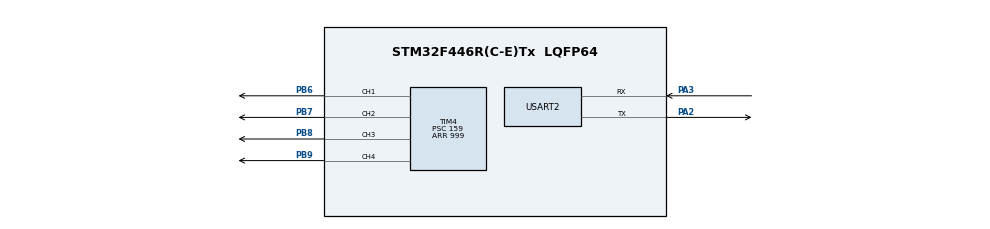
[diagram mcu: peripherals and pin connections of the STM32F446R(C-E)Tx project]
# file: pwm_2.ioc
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Mcu.Family=STM32F4
Mcu.Name=STM32F446R(C-E)Tx
Mcu.Package=LQFP64
NVIC.PriorityGroup=NVIC_PRIORITYGROUP_4
PA13.Mode=Serial_Wire
PA13.Signal=SYS_JTMS-SWDIO
PA14.Mode=Serial_Wire
PA14.Signal=SYS_JTCK-SWCLK
PA2.Mode=Asynchronous
PA2.Signal=USART2_TX
PA3.Mode=Asynchronous
PA3.Signal=USART2_RX
PB6.Signal=S_TIM4_CH1
PB7.Signal=S_TIM4_CH2
PB8.Signal=S_TIM4_CH3
PB9.Signal=S_TIM4_CH4
ProjectManager.HeapSize=0x200
ProjectManager.StackSize=0x400
ProjectManager.TargetToolchain=STM32CubeIDE
RCC.CortexFreq_Value=16000000
RCC.USBFreq_Value=96000000
RCC.VCOOutputFreq_Value=192000000
SH.S_TIM4_CH1.0=TIM4_CH1,PWM Generation1 CH1
SH.S_TIM4_CH2.0=TIM4_CH2,PWM Generation2 CH2
SH.S_TIM4_CH3.0=TIM4_CH3,PWM Generation3 CH3
SH.S_TIM4_CH4.0=TIM4_CH4,PWM Generation4 CH4
TIM4.Channel-PWM\ Generation1\ CH1=TIM_CHANNEL_1
TIM4.Channel-PWM\ Generation2\ CH2=TIM_CHANNEL_2
TIM4.Channel-PWM\ Generation3\ CH3=TIM_CHANNEL_3
TIM4.Channel-PWM\ Generation4\ CH4=TIM_CHANNEL_4
TIM4.Period=999
TIM4.Prescaler=159
TIM4.Pulse-PWM\ Generation1\ CH1=500
USART2.VirtualMode=VM_ASYNC
VP_TIM4_VS_ClockSourceINT.Mode=Internal
board=custom

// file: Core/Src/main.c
/* USER CODE BEGIN Header */
/**
  ******************************************************************************
  * @file           : main.c
  * @brief          : Main program body
  ******************************************************************************
  * @attention
  *
  * Copyright (c) 2026 STMicroelectronics.
  * All rights reserved.
  *
  * This software is licensed under terms that can be found in the LICENSE file
  * in the root directory of this software component.
  * If no LICENSE file comes with this software, it is provided AS-IS.
  *
  ******************************************************************************
  */
/* USER CODE END Header */
#include "main.h"

/* USER CODE BEGIN Includes */

#include <stdio.h>

/* USER CODE END Includes */

TIM_HandleTypeDef htim4;

UART_HandleTypeDef huart2;

void SystemClock_Config(void);
static void MX_GPIO_Init(void);
static void MX_TIM4_Init(void);
static void MX_USART2_UART_Init(void);

/* USER CODE BEGIN 0 */

// Send printf to uart2
int _write(int fd, char* ptr, int len) {
  HAL_StatusTypeDef hstatus;

  if (fd == 1 || fd == 2) {
    hstatus = HAL_UART_Transmit(&huart2, (uint8_t *) ptr, len, HAL_MAX_DELAY);
    if (hstatus == HAL_OK)
      return len;
    else
      return -1;
  }
  return -1;
}

/* USER CODE END 0 */

int main(void)
{

  /* MCU Configuration--------------------------------------------------------*/

  /* Reset of all peripherals, Initializes the Flash interface and the Systick. */
  HAL_Init();

  /* Configure the system clock */
  SystemClock_Config();

  /* Initialize all configured peripherals */
  MX_GPIO_Init();
  MX_TIM4_Init();
  MX_USART2_UART_Init();
  /* USER CODE BEGIN 2 */

  printf("\n\n\n\n\r------------\n\rStarting PWM\n\r");

    printf("Starting timer channel\n\r");
    HAL_TIM_PWM_Start(&htim4, TIM_CHANNEL_1);
    HAL_TIM_PWM_Start(&htim4, TIM_CHANNEL_2);
    HAL_TIM_PWM_Start(&htim4, TIM_CHANNEL_3);
    HAL_TIM_PWM_Start(&htim4, TIM_CHANNEL_4);

  /* USER CODE END 2 */

  /* Infinite loop */
  /* USER CODE BEGIN WHILE */

    uint16_t pwm_value = 0;
      int8_t pwm_change = 1;

      uint32_t now = 0, next_tick = 1000, loop_count = 0, next_change = 0;

  while (1)
  {
	  now = uwTick;

	  if (now >= next_tick) {

	  	  printf("Tick %lu (loop = %lu)\n\r", now/1000, loop_count);

	  	  loop_count = 0;
	  	  next_tick = now + 1000;
	  	  	  }

	  if (now >= next_change) {

	  	  __HAL_TIM_SET_COMPARE(&htim4, TIM_CHANNEL_1, pwm_value);
	  	  __HAL_TIM_SET_COMPARE(&htim4, TIM_CHANNEL_2, 1000 - pwm_value);
	  	  __HAL_TIM_SET_COMPARE(&htim4, TIM_CHANNEL_3, pwm_value);
	  	  __HAL_TIM_SET_COMPARE(&htim4, TIM_CHANNEL_4, 1000 - pwm_value);

	  	  pwm_value += pwm_change;

	  	  if (pwm_value == 0) pwm_change = 1;
	  	  if (pwm_value == 1000) pwm_change = -1;

	  	  next_change = now + 5;
	  	  }

	  ++loop_count;

    /* USER CODE END WHILE */

  }
}

void SystemClock_Config(void)
{
  RCC_OscInitTypeDef RCC_OscInitStruct = {0};
  RCC_ClkInitTypeDef RCC_ClkInitStruct = {0};

  /** Configure the main internal regulator output voltage
  */
  __HAL_RCC_PWR_CLK_ENABLE();
  __HAL_PWR_VOLTAGESCALING_CONFIG(PWR_REGULATOR_VOLTAGE_SCALE3);

  /** Initializes the RCC Oscillators according to the specified parameters
  * in the RCC_OscInitTypeDef structure.
  */
  RCC_OscInitStruct.OscillatorType = RCC_OSCILLATORTYPE_HSI;
  RCC_OscInitStruct.HSIState = RCC_HSI_ON;
  RCC_OscInitStruct.HSICalibrationValue = RCC_HSICALIBRATION_DEFAULT;
  RCC_OscInitStruct.PLL.PLLState = RCC_PLL_NONE;
  if (HAL_RCC_OscConfig(&RCC_OscInitStruct) != HAL_OK)
  {
    Error_Handler();
  }

  /** Initializes the CPU, AHB and APB buses clocks
  */
  RCC_ClkInitStruct.ClockType = RCC_CLOCKTYPE_HCLK|RCC_CLOCKTYPE_SYSCLK
                              |RCC_CLOCKTYPE_PCLK1|RCC_CLOCKTYPE_PCLK2;
  RCC_ClkInitStruct.SYSCLKSource = RCC_SYSCLKSOURCE_HSI;
  RCC_ClkInitStruct.AHBCLKDivider = RCC_SYSCLK_DIV1;
  RCC_ClkInitStruct.APB1CLKDivider = RCC_HCLK_DIV1;
  RCC_ClkInitStruct.APB2CLKDivider = RCC_HCLK_DIV1;

  if (HAL_RCC_ClockConfig(&RCC_ClkInitStruct, FLASH_LATENCY_0) != HAL_OK)
  {
    Error_Handler();
  }
}

static void MX_TIM4_Init(void)
{

  TIM_ClockConfigTypeDef sClockSourceConfig = {0};
  TIM_MasterConfigTypeDef sMasterConfig = {0};
  TIM_OC_InitTypeDef sConfigOC = {0};

  htim4.Instance = TIM4;
  htim4.Init.Prescaler = 159;
  htim4.Init.CounterMode = TIM_COUNTERMODE_UP;
  htim4.Init.Period = 999;
  htim4.Init.ClockDivision = TIM_CLOCKDIVISION_DIV1;
  htim4.Init.AutoReloadPreload = TIM_AUTORELOAD_PRELOAD_DISABLE;
  if (HAL_TIM_Base_Init(&htim4) != HAL_OK)
  {
    Error_Handler();
  }
  sClockSourceConfig.ClockSource = TIM_CLOCKSOURCE_INTERNAL;
  if (HAL_TIM_ConfigClockSource(&htim4, &sClockSourceConfig) != HAL_OK)
  {
    Error_Handler();
  }
  if (HAL_TIM_PWM_Init(&htim4) != HAL_OK)
  {
    Error_Handler();
  }
  sMasterConfig.MasterOutputTrigger = TIM_TRGO_RESET;
  sMasterConfig.MasterSlaveMode = TIM_MASTERSLAVEMODE_DISABLE;
  if (HAL_TIMEx_MasterConfigSynchronization(&htim4, &sMasterConfig) != HAL_OK)
  {
    Error_Handler();
  }
  sConfigOC.OCMode = TIM_OCMODE_PWM1;
  sConfigOC.Pulse = 500;
  sConfigOC.OCPolarity = TIM_OCPOLARITY_HIGH;
  sConfigOC.OCFastMode = TIM_OCFAST_DISABLE;
  if (HAL_TIM_PWM_ConfigChannel(&htim4, &sConfigOC, TIM_CHANNEL_1) != HAL_OK)
  {
    Error_Handler();
  }
  sConfigOC.Pulse = 0;
  if (HAL_TIM_PWM_ConfigChannel(&htim4, &sConfigOC, TIM_CHANNEL_2) != HAL_OK)
  {
    Error_Handler();
  }
  if (HAL_TIM_PWM_ConfigChannel(&htim4, &sConfigOC, TIM_CHANNEL_3) != HAL_OK)
  {
    Error_Handler();
  }
  if (HAL_TIM_PWM_ConfigChannel(&htim4, &sConfigOC, TIM_CHANNEL_4) != HAL_OK)
  {
    Error_Handler();
  }
  HAL_TIM_MspPostInit(&htim4);

}

static void MX_USART2_UART_Init(void)
{

  huart2.Instance = USART2;
  huart2.Init.BaudRate = 115200;
  huart2.Init.WordLength = UART_WORDLENGTH_8B;
  huart2.Init.StopBits = UART_STOPBITS_1;
  huart2.Init.Parity = UART_PARITY_NONE;
  huart2.Init.Mode = UART_MODE_TX_RX;
  huart2.Init.HwFlowCtl = UART_HWCONTROL_NONE;
  huart2.Init.OverSampling = UART_OVERSAMPLING_16;
  if (HAL_UART_Init(&huart2) != HAL_OK)
  {
    Error_Handler();
  }

}

static void MX_GPIO_Init(void)
{

  /* GPIO Ports Clock Enable */
  __HAL_RCC_GPIOA_CLK_ENABLE();
  __HAL_RCC_GPIOB_CLK_ENABLE();

}

void Error_Handler(void)
{
  __disable_irq();
  while (1)
  {
  }
}
